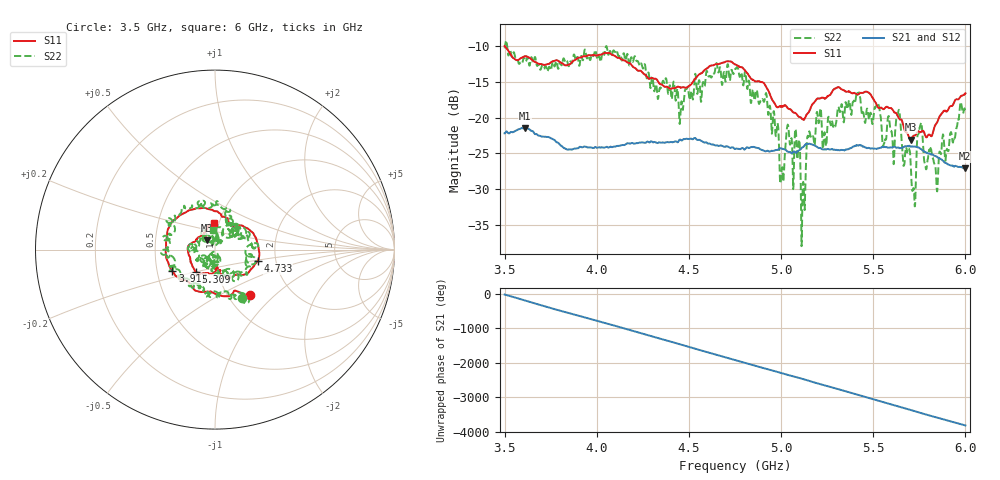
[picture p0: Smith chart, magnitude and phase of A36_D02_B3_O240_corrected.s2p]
! Created with skrf 1.9.0 (http://scikit-rf.org).
# Hz S RI R 50.0
!freq ReS11 ImS11 ReS21 ImS21 ReS12 ImS12 ReS22 ImS22
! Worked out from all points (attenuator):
!   1601 points, 3.5 GHz to 6 GHz, reference 50 ohm
!   highest |S21| = -21.44 dB at 3.611 GHz (marker M1); lowest = -27.1 dB at 5.997 GHz (marker M2)
!   lowest |S11| = -23.1 dB at 5.703 GHz (marker M3), VSWR 1.15, Z = 45.3 + j4.77 ohm
!   |S11| at or under -10 dB: 3.502 GHz to end of sweep
!   |S22| runs from -38.0 to -9.2 dB; largest |S21 - S12| = 0.00093
!   S11 on the Smith chart (normalised r, x): 3.5 GHz: 1.26, -0.71; 3.917 GHz: 0.60, -0.15; 4.733 GHz: 1.61, -0.22; 5.309 GHz: 0.79, -0.20; 6 GHz: 0.94, +0.29
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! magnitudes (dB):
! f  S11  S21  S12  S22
! 3.5 GHz  -9.9  -22.2  -22.2  -10.3
! 3.611 GHz  -11.4  -21.4  -21.5  -11.9
! 3.917 GHz  -11.5  -24.1  -24.1  -11.3
! 4.334 GHz  -15.0  -23.5  -23.4  -17.1
! 4.458 GHz  -15.8  -23.2  -23.1  -18.0
! 4.733 GHz  -12.2  -24.2  -24.2  -13.3
! 4.75 GHz  -12.5  -24.4  -24.3  -13.2
! 4.928 GHz  -16.1  -24.6  -24.6  -19.2
! 5.005 GHz  -18.4  -24.3  -24.4  -27.0
! 5.034 GHz  -18.6  -24.7  -24.7  -21.1
! 5.088 GHz  -19.6  -24.8  -24.8  -25.8
! 5.119 GHz  -20.3  -24.1  -24.0  -29.1
! 5.167 GHz  -18.2  -23.8  -23.7  -22.9
! 5.309 GHz  -15.7  -24.6  -24.5  -18.5
! 5.584 GHz  -18.6  -24.2  -24.2  -19.8
! 5.638 GHz  -20.0  -24.2  -24.2  -19.0
! 5.703 GHz  -23.1  -24.1  -24.0  -26.4
! 5.72 GHz  -22.5  -24.0  -24.0  -29.9
! 5.755 GHz  -22.0  -24.3  -24.3  -21.1
! 5.842 GHz  -20.8  -25.4  -25.4  -28.7
! 5.997 GHz  -16.7  -27.1  -27.1  -18.8
! 6 GHz  -16.6  -27.1  -27.1  -19.3
